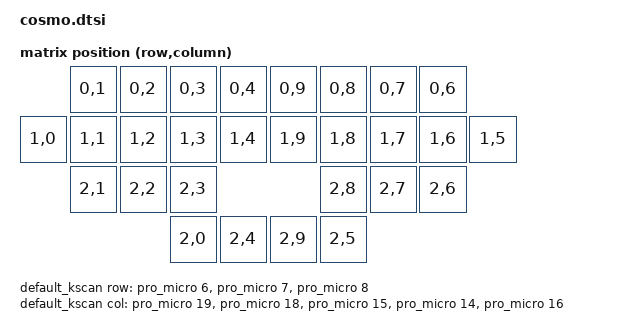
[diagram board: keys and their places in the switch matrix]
#include <dt-bindings/zmk/matrix_transform.h>

#include "cosmo-layouts.dtsi"

/ {
    chosen {
        zmk,kscan = &default_kscan;
        zmk,physical-layout = &cosmo_layout;
    };

    default_kscan: kscan_0 {
        compatible = "zmk,kscan-gpio-matrix";
        diode-direction = "col2row";
        wakeup-source;

        row-gpios
            = <&pro_micro 6 (GPIO_PULL_DOWN | GPIO_ACTIVE_HIGH)>
            , <&pro_micro 7 (GPIO_PULL_DOWN | GPIO_ACTIVE_HIGH)>
            , <&pro_micro 8 (GPIO_PULL_DOWN | GPIO_ACTIVE_HIGH)>
            ;

        col-gpios
            = <&pro_micro 19 GPIO_ACTIVE_HIGH>
            , <&pro_micro 18 GPIO_ACTIVE_HIGH>
            , <&pro_micro 15 GPIO_ACTIVE_HIGH>
            , <&pro_micro 14 GPIO_ACTIVE_HIGH>
            , <&pro_micro 16 GPIO_ACTIVE_HIGH>
            ;
    };

    default_transform: keymap_transform_0 {
        compatible = "zmk,matrix-transform";
        columns = <10>;
        rows = <3>;
        map = <
                    RC(0,1) RC(0,2) RC(0,3) RC(0,4)   RC(0,9) RC(0,8) RC(0,7) RC(0,6)
            RC(1,0) RC(1,1) RC(1,2) RC(1,3) RC(1,4)   RC(1,9) RC(1,8) RC(1,7) RC(1,6) RC(1,5)
                    RC(2,1) RC(2,2) RC(2,3)                   RC(2,8) RC(2,7) RC(2,6)
                                    RC(2,0) RC(2,4)   RC(2,9) RC(2,5)
        >;
    };
};

&cosmo_layout {
    transform = <&default_transform>;
};
